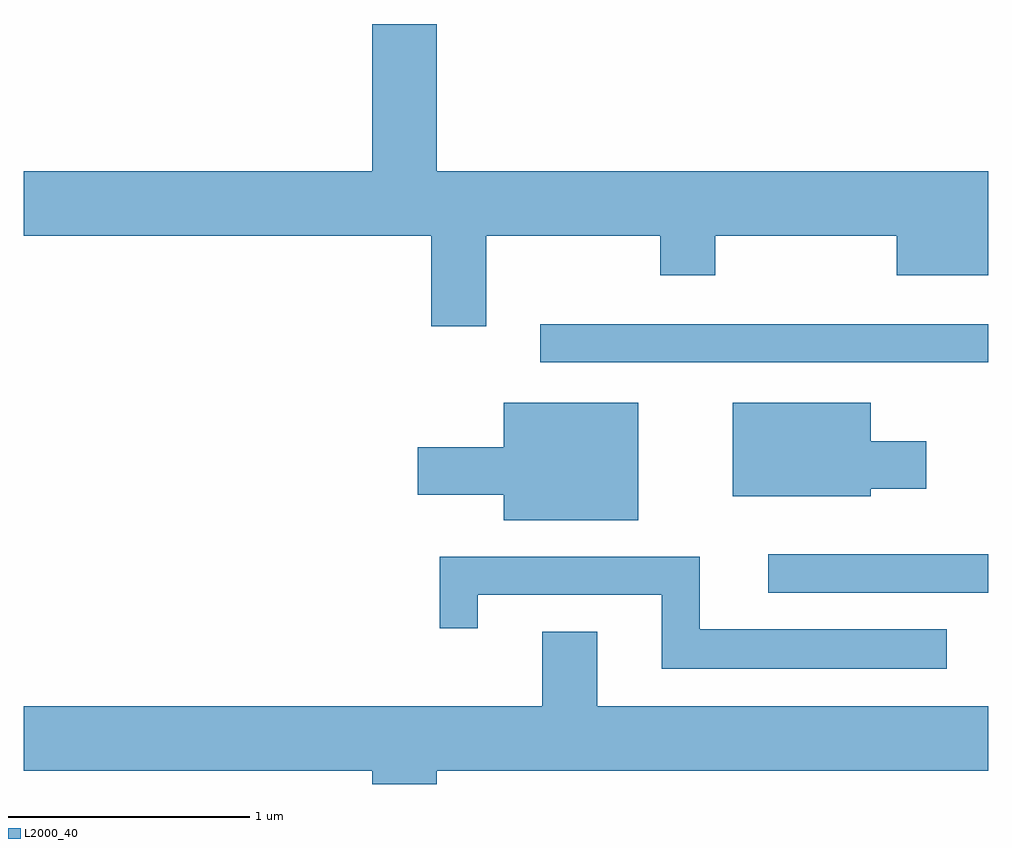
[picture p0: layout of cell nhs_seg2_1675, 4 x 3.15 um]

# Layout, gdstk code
import gdstk
lib = gdstk.Library(unit=1e-6, precision=1e-09)
def R(c, l, rs):  # rectangles x0, y0, x1, y1
    for r in rs: c.add(gdstk.rectangle(r[:2], r[2:], *l))
def P(c, l, *ps):  # polygons
    for p in ps: c.add(gdstk.Polygon(p, *l))
L2000_40 = (2000, 40)

nhs_seg2_1675 = lib.new_cell('nhs_seg2_1675')
R(nhs_seg2_1675, L2000_40, [(236.698,1064.596,237.611,1064.754), (235.753,1065.551,237.611,1065.709)])
P(nhs_seg2_1675, L2000_40, [(235.529,1066.076),(236.251,1066.076),(236.251,1065.911),(236.479,1065.911),(236.479,1066.076),(237.231,1066.076),(237.231,1065.911),(237.611,1065.911),(237.611,1066.344),(235.324,1066.344),(235.324,1066.954),(235.056,1066.954),(235.056,1066.344),(233.611,1066.344),(233.611,1066.076),(235.301,1066.076),(235.301,1065.701),(235.529,1065.701)],
  [(237.124,1065.026),(237.354,1065.026),(237.354,1065.224),(237.124,1065.224),(237.124,1065.384),(236.551,1065.384),(236.551,1064.996),(237.124,1064.996)],
  [(236.159,1065.384),(235.601,1065.384),(235.601,1065.199),(235.246,1065.199),(235.246,1065.001),(235.601,1065.001),(235.601,1064.896),(236.159,1064.896)],
  [(237.438,1064.444),(236.414,1064.444),(236.414,1064.744),(235.336,1064.744),(235.336,1064.448),(235.494,1064.448),(235.494,1064.586),(236.256,1064.586),(236.256,1064.281),(237.438,1064.281)],
  [(235.324,1063.856),(237.611,1063.856),(237.611,1064.124),(235.989,1064.124),(235.989,1064.434),(235.761,1064.434),(235.761,1064.124),(233.611,1064.124),(233.611,1063.856),(235.056,1063.856),(235.056,1063.802),(235.324,1063.802)])

lib.write_gds('nhs_seg2_1675.gds')
